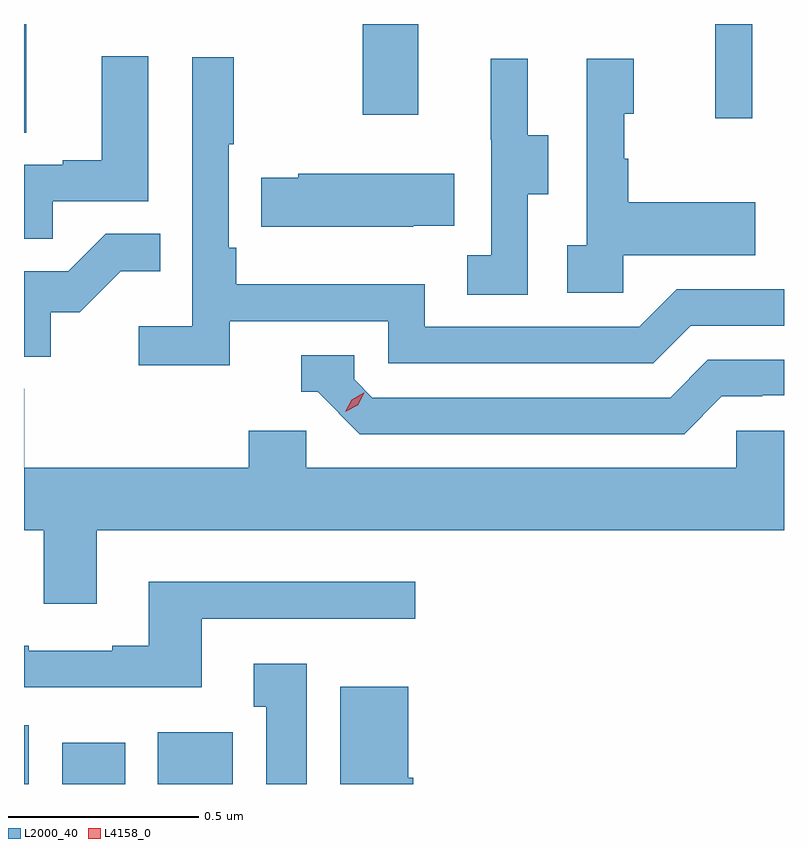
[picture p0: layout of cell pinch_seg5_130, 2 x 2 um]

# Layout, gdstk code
import gdstk
lib = gdstk.Library(unit=1e-6, precision=1e-09)
def R(c, l, rs):  # rectangles x0, y0, x1, y1
    for r in rs: c.add(gdstk.rectangle(r[:2], r[2:], *l))
def P(c, l, *ps):  # polygons
    for p in ps: c.add(gdstk.Polygon(p, *l))
L2000_40 = (2000, 40)
L4158_0 = (4158, 0)

pinch_seg5_130 = lib.new_cell('pinch_seg5_130')
R(pinch_seg5_130, L2000_40, [(1077.577,884.064,1077.589,884.218), (1077.677,884.064,1077.844,884.173), (1077.929,884.064,1078.126,884.2), (1077.577,885.778,1077.583,886.064), (1079.396,885.816,1079.493,886.064), (1078.468,885.825,1078.615,886.064)])
P(pinch_seg5_130, L2000_40, [(1077.653,885.597),(1077.904,885.597),(1077.904,885.979),(1077.782,885.979),(1077.782,885.706),(1077.679,885.706),(1077.679,885.693),(1077.577,885.693),(1077.577,885.499),(1077.653,885.499)],
  [(1078.118,885.282),(1078.536,885.282),(1078.536,885.171),(1079.233,885.171),(1079.332,885.27),(1079.577,885.27),(1079.577,885.366),(1079.295,885.366),(1079.196,885.267),(1078.632,885.267),(1078.632,885.379),(1078.136,885.379),(1078.136,885.475),(1078.116,885.475),(1078.116,885.748),(1078.129,885.748),(1078.129,885.976),(1078.02,885.976),(1078.02,885.268),(1077.879,885.268),(1077.879,885.166),(1078.118,885.166)],
  [(1078.902,885.616),(1078.957,885.616),(1078.957,885.771),(1078.903,885.771),(1078.903,885.973),(1078.805,885.973),(1078.805,885.759),(1078.806,885.759),(1078.806,885.455),(1078.743,885.455),(1078.743,885.352),(1078.902,885.352)],
  [(1079.154,885.455),(1079.501,885.455),(1079.501,885.595),(1079.167,885.595),(1079.167,885.71),(1079.157,885.71),(1079.157,885.828),(1079.182,885.828),(1079.182,885.973),(1079.058,885.973),(1079.058,885.482),(1079.007,885.482),(1079.007,885.357),(1079.154,885.357)],
  [(1078.601,885.533),(1078.709,885.533),(1078.709,885.67),(1078.299,885.67),(1078.299,885.66),(1078.201,885.66),(1078.201,885.53),(1078.601,885.53)],
  [(1077.648,885.306),(1077.724,885.306),(1077.831,885.413),(1077.935,885.413),(1077.935,885.512),(1077.792,885.512),(1077.694,885.414),(1077.577,885.414),(1077.577,885.189),(1077.648,885.189)],
  [(1079.413,885.084),(1079.52,885.084),(1079.52,885.087),(1079.577,885.087),(1079.577,885.18),(1079.376,885.18),(1079.277,885.081),(1078.494,885.081),(1078.446,885.129),(1078.446,885.192),(1078.307,885.192),(1078.307,885.096),(1078.35,885.096),(1078.461,884.985),(1079.314,884.985)],
  [(1077.769,884.732),(1079.577,884.732),(1079.577,884.994),(1079.451,884.994),(1079.451,884.896),(1078.32,884.896),(1078.32,884.994),(1078.169,884.994),(1078.169,884.896),(1077.578,884.896),(1077.578,885.104),(1077.577,885.104),(1077.577,884.732),(1077.629,884.732),(1077.629,884.538),(1077.769,884.538)],
  [(1078.045,884.499),(1078.606,884.499),(1078.606,884.596),(1077.905,884.596),(1077.905,884.428),(1077.809,884.428),(1077.809,884.415),(1077.589,884.415),(1077.589,884.428),(1077.577,884.428),(1077.577,884.319),(1077.685,884.319),(1077.685,884.318),(1078.045,884.318)],
  [(1078.321,884.38),(1078.181,884.38),(1078.181,884.267),(1078.214,884.267),(1078.214,884.064),(1078.321,884.064)],
  [(1078.601,884.08),(1078.588,884.08),(1078.588,884.32),(1078.409,884.32),(1078.409,884.064),(1078.601,884.064)])
P(pinch_seg5_130, L4158_0, [(1078.423,885.043),(1078.423,885.043),(1078.44,885.075),(1078.471,885.094),(1078.472,885.094),(1078.472,885.094),(1078.455,885.061),(1078.423,885.043)])

lib.write_gds('pinch_seg5_130.gds')
